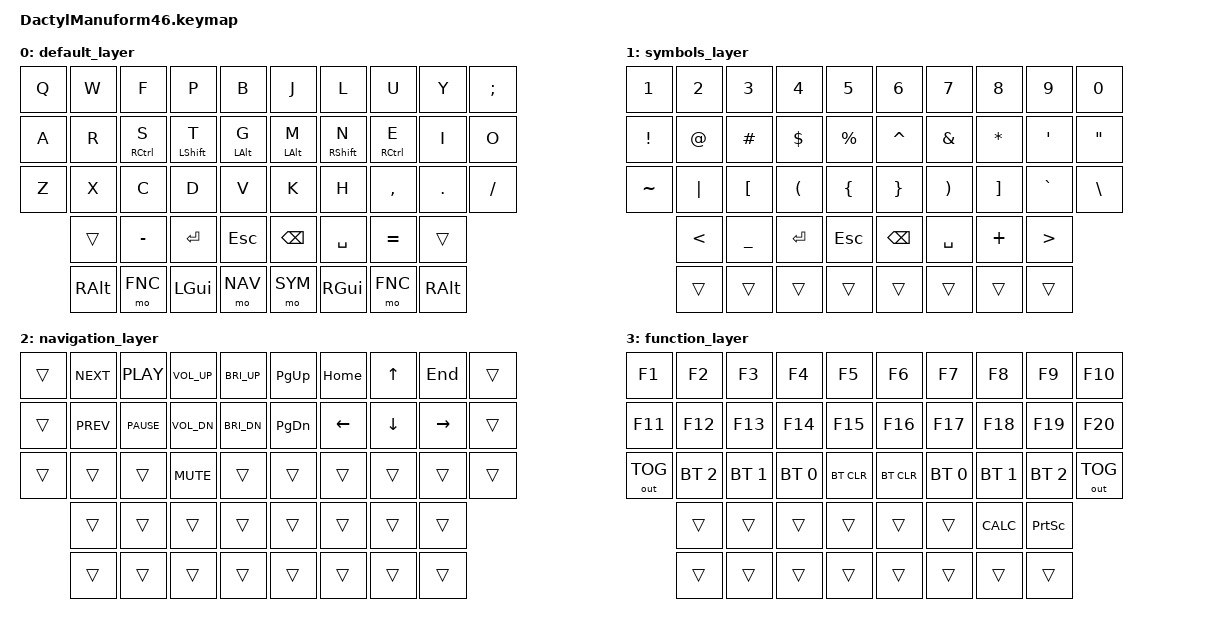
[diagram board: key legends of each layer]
#include <behaviors.dtsi>
#include <dt-bindings/zmk/keys.h>
#include <dt-bindings/zmk/bt.h>
#include <dt-bindings/zmk/outputs.h>

#define DEFAULT 0
#define SYM     1
#define NAV     2
#define FNC     3

/ {  
    keymap {
        compatible = "zmk,keymap";

        default_layer {
            bindings = <
                &kp Q  &kp W    &kp F       &kp P       &kp B            &kp J      &kp L       &kp U       &kp Y   &kp SEMI
                &kp A  &kp R    &mt RCTRL S &mt LSHFT T &mt LALT G       &mt LALT M &mt RSHFT N &mt RCTRL E &kp I   &kp O
                &kp Z  &kp X    &kp C       &kp D       &kp V            &kp K      &kp H       &kp COMMA   &kp DOT &kp FSLH
                       &trans   &kp MINUS   &kp RET     &kp ESC          &kp BSPC   &kp SPACE   &kp EQUAL   &trans
                       &kp RALT &mo FNC     &kp LGUI    &mo NAV          &mo SYM    &kp RGUI    &mo FNC     &kp RALT
            >;
        }; 

        symbols_layer {
            bindings = <
                &kp N1    &kp N2   &kp N3    &kp N4   &kp N5          &kp N6    &kp N7    &kp N8    &kp N9    &kp N0
                &kp EXCL  &kp AT   &kp HASH  &kp DLLR &kp PRCNT       &kp CARET &kp AMPS  &kp STAR  &kp APOS  &kp DQT
                &kp TILDE &kp PIPE &kp LBKT  &kp LPAR &kp LBRC        &kp RBRC  &kp RPAR  &kp RBKT  &kp GRAVE &kp BSLH
                          &kp LT   &kp UNDER &kp RET  &kp ESC         &kp BSPC  &kp SPACE &kp PLUS  &kp GT
                          &trans   &trans    &trans   &trans          &trans    &trans    &trans    &trans
            >;
        };

        navigation_layer {
            bindings = <
                &trans  &kp C_NEXT &kp C_PLAY  &kp C_VOL_UP &kp C_BRI_UP          &kp PG_UP  &kp HOME &kp UP   &kp END   &trans
                &trans  &kp C_PREV &kp C_PAUSE &kp C_VOL_DN &kp C_BRI_DN          &kp PG_DN  &kp LEFT &kp DOWN &kp RIGHT &trans
                &trans  &trans     &trans      &kp C_MUTE   &trans                &trans     &trans   &trans   &trans     &trans
                &trans  &trans     &trans      &trans                             &trans     &trans   &trans   &trans
                &trans  &trans     &trans      &trans                             &trans     &trans   &trans   &trans
            >;
        };

        function_layer {
            bindings = <
                &kp F1       &kp F2       &kp F3       &kp F4       &kp F5        &kp F6     &kp F7       &kp F8       &kp F9        &kp F10
                &kp F11      &kp F12      &kp F13      &kp F14      &kp F15       &kp F16    &kp F17      &kp F18      &kp F19       &kp F20
                &out OUT_TOG &bt BT_SEL 2 &bt BT_SEL 1 &bt BT_SEL 0 &bt BT_CLR    &bt BT_CLR &bt BT_SEL 0 &bt BT_SEL 1 &bt BT_SEL 2  &out OUT_TOG 
                             &trans       &trans       &trans       &trans        &trans     &trans       &kp K_CALC   &kp PSCRN
                             &trans       &trans       &trans       &trans        &trans     &trans       &trans       &trans
            >;
        };
    };
};
